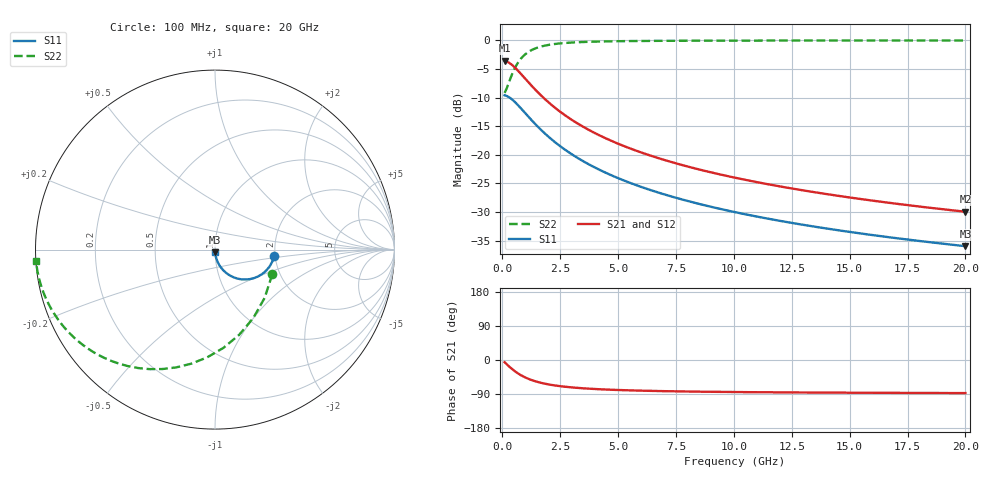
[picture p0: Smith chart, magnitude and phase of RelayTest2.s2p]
! File created by SignalIntegrity v1.2.1: Signal and Power Integrity Tools
! https://github.com/TeledyneLeCroy/SignalIntegrity
# MHz S MA R 50.0
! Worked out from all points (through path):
!   200 points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, 100 MHz to 20 GHz, reference 50 ohm
!   highest |S21| = -3.57 dB at 100 MHz (marker M1); lowest = -30.0 dB at 20 GHz (marker M2)
!   lowest |S11| = -36.0 dB at 20 GHz (marker M3), VSWR 1.03, Z = 50.1 - j1.59 ohm
!   |S11| at or under -10 dB: 316.6 MHz to end of sweep
!   |S22| runs from -9.2 to 0.0 dB; largest |S21 - S12| = 0
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100  0.3315 -6.0  0.663 -6.0  0.663 -6.0  0.3475 -23.4
200  0.3263 -11.8  0.6525 -11.8  0.6525 -11.8  0.3853 -44.0
300  0.318 -17.4  0.636 -17.4  0.636 -17.4  0.437 -60.7
400  0.3075 -22.7  0.6149 -22.7  0.6149 -22.7  0.4938 -74.2
500  0.2953 -27.6  0.5906 -27.6  0.5906 -27.6  0.5499 -85.2
600  0.2822 -32.1  0.5645 -32.1  0.5645 -32.1  0.6022 -94.2
700  0.2688 -36.2  0.5377 -36.2  0.5377 -36.2  0.6495 -101.8
900  0.2426 -43.3  0.4852 -43.3  0.4852 -43.3  0.7275 -113.8
1100  0.2185 -49.0  0.437 -49.0  0.437 -49.0  0.7861 -122.9
1400  0.1878 -55.7  0.3757 -55.7  0.3757 -55.7  0.8472 -132.9
1600  0.1708 -59.2  0.3417 -59.2  0.3417 -59.2  0.8755 -137.9
1900  0.1497 -63.3  0.2994 -63.3  0.2994 -63.3  0.906 -143.8
2200  0.1327 -66.5  0.2654 -66.5  0.2654 -66.5  0.9269 -148.3
2600  0.1149 -69.8  0.2298 -69.8  0.2298 -69.8  0.9457 -152.9
3500  0.08774 -74.7  0.1755 -74.7  0.1755 -74.7  0.9687 -159.5
4900  0.06376 -79.0  0.1275 -79.0  0.1275 -79.0  0.9836 -165.3
6800  0.04636 -82.0  0.09271 -82.0  0.09271 -82.0  0.9914 -169.3
8300  0.0381 -83.4  0.0762 -83.4  0.0762 -83.4  0.9942 -171.2
10100  0.03138 -84.6  0.06275 -84.6  0.06275 -84.6  0.9961 -172.8
13400  0.02369 -85.9  0.04739 -85.9  0.04739 -85.9  0.9978 -174.6
16700  0.01903 -86.7  0.03806 -86.7  0.03806 -86.7  0.9986 -175.6
20000  0.0159 -87.3  0.03179 -87.3  0.03179 -87.3  0.999 -176.4
